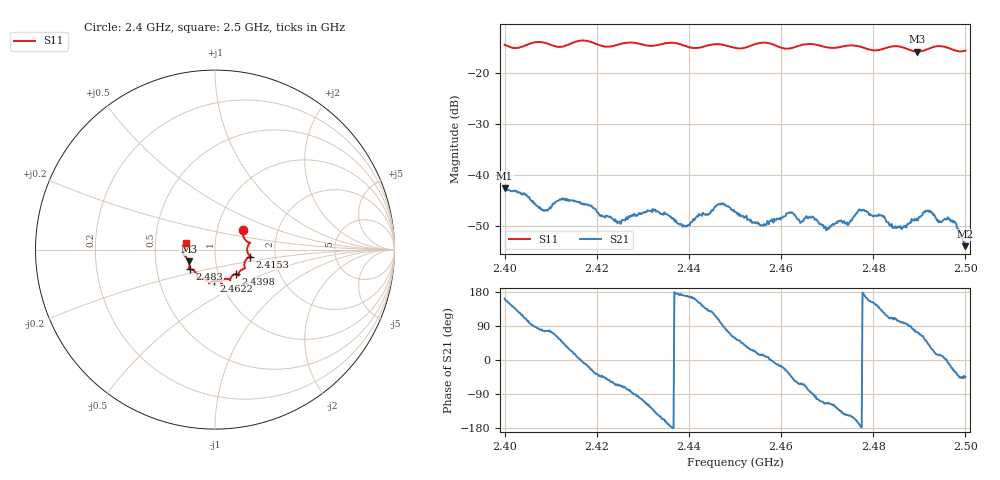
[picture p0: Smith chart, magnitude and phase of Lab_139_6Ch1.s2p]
# Hz S RI R 50
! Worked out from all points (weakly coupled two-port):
!   601 points, 2.4 GHz to 2.5 GHz, reference 50 ohm
!   highest |S21| = -42.56 dB at 2.4 GHz (marker M1); lowest = -53.9 dB at 2.5 GHz (marker M2)
!   lowest |S11| = -15.9 dB at 2.4895 GHz (marker M3), VSWR 1.38, Z = 36.9 - j5.01 ohm
!   |S11| at or under -10 dB: start of sweep to end of sweep
!   S12 and S22 are empty: the file has one direction only
!   S11 on the Smith chart (normalised r, x): 2.4 GHz: 1.33, +0.29; 2.4153 GHz: 1.48, -0.12; 2.4398 GHz: 1.21, -0.34; 2.4622 GHz: 0.93, -0.33; 2.483 GHz: 0.74, -0.17; 2.5 GHz: 0.72, +0.06
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2.4e9  0.1546 0.1065  -0.00709 0.0023  0 0  0 0
2.408667e9  0.1932 0.0362  0.00112 0.00435  0 0  0 0
2.415333e9  0.1963 -0.0388  0.00541 0.00134  0 0  0 0
2.416667e9  0.2019 -0.0427  0.00526 -0.000229  0 0  0 0
2.424667e9  0.164 -0.0931  0.00131 -0.0032  0 0  0 0
2.433333e9  0.1312 -0.1338  -0.00359 -0.00252  0 0  0 0
2.439833e9  0.1151 -0.1366  -0.00318 0.000759  0 0  0 0
2.446833e9  0.0845 -0.1697  -0.00083 0.0052  0 0  0 0
2.45e9  0.0644 -0.1627  0.00232 0.00374  0 0  0 0
2.456e9  0.0381 -0.193  0.00313 0.000654  0 0  0 0
2.462167e9  -0.00722 -0.1736  0.00309 -0.00297  0 0  0 0
2.464333e9  -0.029 -0.1836  0.00166 -0.00305  0 0  0 0
2.466667e9  -0.0341 -0.1877  0.000121 -0.00389  0 0  0 0
2.469833e9  -0.0461 -0.1712  -0.00116 -0.00264  0 0  0 0
2.4745e9  -0.0902 -0.1607  -0.00265 -0.00187  0 0  0 0
2.477333e9  -0.097 -0.1507  -0.00455 -0.000313  0 0  0 0
2.483e9  -0.1376 -0.1098  -0.00153 0.00313  0 0  0 0
2.483333e9  -0.1401 -0.1095  -0.0013 0.0032  0 0  0 0
2.4895e9  -0.1464 -0.0661  0.00107 0.00361  0 0  0 0
2.492e9  -0.1682 -0.0349  0.00338 0.00298  0 0  0 0
2.496667e9  -0.1723 -0.0101  0.00354 -0.000875  0 0  0 0
2.5e9  -0.1598 0.0393  0.00144 -0.00142  0 0  0 0
